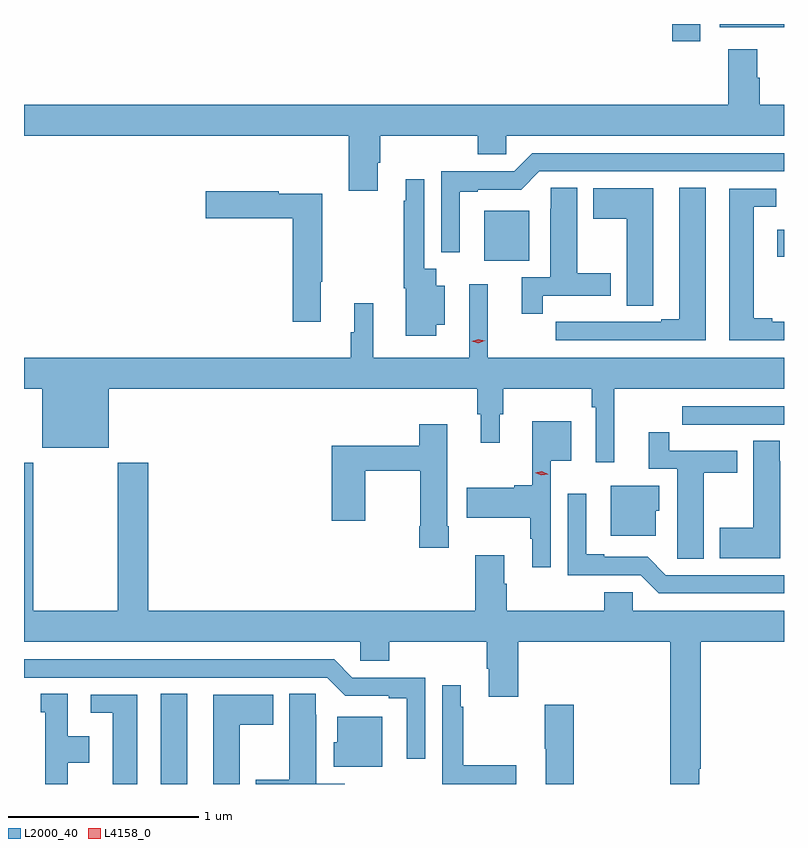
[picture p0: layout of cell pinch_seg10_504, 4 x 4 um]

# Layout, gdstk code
import gdstk
lib = gdstk.Library(unit=1e-6, precision=1e-09)
def R(c, l, rs):  # rectangles x0, y0, x1, y1
    for r in rs: c.add(gdstk.rectangle(r[:2], r[2:], *l))
def P(c, l, *ps):  # polygons
    for p in ps: c.add(gdstk.Polygon(p, *l))
L2000_40 = (2000, 40)
L4158_0 = (4158, 0)

pinch_seg10_504 = lib.new_cell('pinch_seg10_504')
R(pinch_seg10_504, L2000_40, [(142.676,1286.248,142.816,1286.723), (144.38,1289.003,144.616,1289.266), (145.922,1289.024,145.957,1289.164), (145.37,1290.156,145.516,1290.248), (145.62,1290.23,145.957,1290.248)])
P(pinch_seg10_504, L2000_40, [(143.818,1289.518),(143.831,1289.518),(143.831,1289.66),(144.344,1289.66),(144.344,1289.562),(144.495,1289.562),(144.495,1289.66),(145.957,1289.66),(145.957,1289.824),(145.829,1289.824),(145.829,1289.966),(145.816,1289.966),(145.816,1290.115),(145.664,1290.115),(145.664,1289.824),(141.957,1289.824),(141.957,1289.66),(143.666,1289.66),(143.666,1289.37),(143.818,1289.37)],
  [(144.25,1289.364),(144.346,1289.364),(144.346,1289.376),(144.573,1289.376),(144.669,1289.472),(145.957,1289.472),(145.957,1289.568),(144.633,1289.568),(144.537,1289.472),(144.153,1289.472),(144.153,1289.046),(144.25,1289.046)],
  [(144.127,1288.664),(144.172,1288.664),(144.172,1288.87),(144.127,1288.87),(144.127,1288.96),(144.063,1288.96),(144.063,1289.431),(143.966,1289.431),(143.966,1289.318),(143.955,1289.318),(143.955,1288.856),(143.966,1288.856),(143.966,1288.608),(144.127,1288.608)],
  [(144.686,1288.818),(145.045,1288.818),(145.045,1288.935),(144.868,1288.935),(144.868,1289.387),(144.729,1289.387),(144.729,1289.276),(144.728,1289.276),(144.728,1288.914),(144.578,1288.914),(144.578,1288.722),(144.686,1288.722)],
  [(145.546,1289.387),(145.406,1289.387),(145.406,1288.695),(145.31,1288.695),(145.31,1288.68),(145.034,1288.68),(145.034,1288.681),(144.868,1288.681),(144.868,1288.68),(144.756,1288.68),(144.756,1288.584),(145.546,1288.584)],
  [(145.269,1288.873),(145.27,1288.873),(145.27,1289.383),(144.953,1289.383),(144.953,1289.224),(145.13,1289.224),(145.13,1288.765),(145.269,1288.765)],
  [(145.957,1288.68),(145.894,1288.68),(145.894,1288.7),(145.798,1288.7),(145.798,1289.286),(145.915,1289.286),(145.915,1289.382),(145.67,1289.382),(145.67,1288.584),(145.957,1288.584)],
  [(143.518,1288.892),(143.526,1288.892),(143.526,1289.355),(143.298,1289.355),(143.298,1289.367),(142.914,1289.367),(142.914,1289.225),(143.372,1289.225),(143.372,1288.68),(143.518,1288.68)],
  [(145.064,1288.328),(145.957,1288.328),(145.957,1288.492),(144.398,1288.492),(144.398,1288.879),(144.3,1288.879),(144.3,1288.492),(143.794,1288.492),(143.794,1288.777),(143.696,1288.777),(143.696,1288.626),(143.677,1288.626),(143.677,1288.492),(141.957,1288.492),(141.957,1288.328),(142.052,1288.328),(142.052,1288.019),(142.402,1288.019),(142.402,1288.328),(144.343,1288.328),(144.343,1288.194),(144.362,1288.194),(144.362,1288.044),(144.46,1288.044),(144.46,1288.194),(144.479,1288.194),(144.479,1288.328),(144.946,1288.328),(144.946,1288.232),(144.966,1288.232),(144.966,1287.942),(145.064,1287.942)],
  [(145.7,1288.14),(145.957,1288.14),(145.957,1288.236),(145.422,1288.236),(145.422,1288.14),(145.534,1288.14),(145.534,1288.139),(145.7,1288.139)],
  [(144.729,1287.95),(144.838,1287.95),(144.838,1288.156),(144.632,1288.156),(144.632,1287.821),(144.536,1287.821),(144.536,1287.808),(144.288,1287.808),(144.288,1287.65),(144.621,1287.65),(144.621,1287.538),(144.632,1287.538),(144.632,1287.39),(144.729,1287.39)],
  [(144.192,1287.604),(144.184,1287.604),(144.184,1288.141),(144.038,1288.141),(144.038,1288.027),(143.576,1288.027),(143.576,1287.633),(143.754,1287.633),(143.754,1287.898),(144.043,1287.898),(144.043,1287.604),(144.038,1287.604),(144.038,1287.492),(144.192,1287.492)],
  [(145.534,1287.886),(145.711,1287.886),(145.711,1288.002),(145.352,1288.002),(145.352,1288.099),(145.244,1288.099),(145.244,1287.906),(145.394,1287.906),(145.394,1287.544),(145.395,1287.544),(145.395,1287.433),(145.534,1287.433)],
  [(145.936,1287.947),(145.935,1287.947),(145.935,1288.055),(145.796,1288.055),(145.796,1287.597),(145.619,1287.597),(145.619,1287.437),(145.936,1287.437)],
  [(145.511,1286.329),(145.518,1286.329),(145.518,1286.996),(145.957,1286.996),(145.957,1287.16),(145.161,1287.16),(145.161,1287.258),(145.01,1287.258),(145.01,1287.16),(144.497,1287.16),(144.497,1287.302),(144.484,1287.302),(144.484,1287.451),(144.332,1287.451),(144.332,1287.16),(142.61,1287.16),(142.61,1287.94),(142.45,1287.94),(142.45,1287.16),(142.005,1287.16),(142.005,1287.94),(141.957,1287.94),(141.957,1286.996),(143.727,1286.996),(143.727,1286.898),(143.879,1286.898),(143.879,1286.996),(144.392,1286.996),(144.392,1286.854),(144.404,1286.854),(144.404,1286.706),(144.557,1286.706),(144.557,1286.996),(145.358,1286.996),(145.358,1286.248),(145.511,1286.248)],
  [(145.282,1287.687),(145.3,1287.687),(145.3,1287.817),(145.046,1287.817),(145.046,1287.554),(145.282,1287.554)],
  [(145.957,1287.348),(145.335,1287.348),(145.239,1287.444),(145.012,1287.444),(145.012,1287.457),(144.916,1287.457),(144.916,1287.775),(144.819,1287.775),(144.819,1287.348),(145.203,1287.348),(145.299,1287.252),(145.957,1287.252)],
  [(144.069,1286.808),(143.685,1286.808),(143.589,1286.904),(141.957,1286.904),(141.957,1286.808),(143.553,1286.808),(143.649,1286.712),(143.876,1286.712),(143.876,1286.7),(143.972,1286.7),(143.972,1286.382),(144.069,1286.382)],
  [(144.547,1286.346),(144.268,1286.346),(144.268,1286.654),(144.256,1286.654),(144.256,1286.767),(144.159,1286.767),(144.159,1286.248),(144.547,1286.248)],
  [(142.186,1286.36),(142.3,1286.36),(142.3,1286.5),(142.186,1286.5),(142.186,1286.723),(142.046,1286.723),(142.046,1286.625),(142.07,1286.625),(142.07,1286.248),(142.186,1286.248)],
  [(143.645,1286.25),(143.494,1286.25),(143.494,1286.612),(143.493,1286.612),(143.493,1286.723),(143.354,1286.723),(143.354,1286.271),(143.177,1286.271),(143.177,1286.248),(143.645,1286.248)],
  [(143.092,1286.56),(143.269,1286.56),(143.269,1286.719),(142.952,1286.719),(142.952,1286.248),(143.092,1286.248)],
  [(142.552,1286.718),(142.308,1286.718),(142.308,1286.622),(142.424,1286.622),(142.424,1286.248),(142.552,1286.248)],
  [(144.851,1286.665),(144.697,1286.665),(144.697,1286.434),(144.704,1286.434),(144.704,1286.248),(144.851,1286.248)],
  [(143.842,1286.602),(143.606,1286.602),(143.606,1286.469),(143.588,1286.469),(143.588,1286.339),(143.842,1286.339)])
P(pinch_seg10_504, L4158_0, [(144.68,1287.873),(144.647,1287.886),(144.646,1287.886),(144.647,1287.887),(144.682,1287.893),(144.716,1287.879),(144.716,1287.879),(144.716,1287.879)],
  [(144.348,1288.569),(144.314,1288.579),(144.313,1288.579),(144.314,1288.579),(144.348,1288.589),(144.383,1288.58),(144.384,1288.58),(144.383,1288.58)])

lib.write_gds('pinch_seg10_504.gds')
